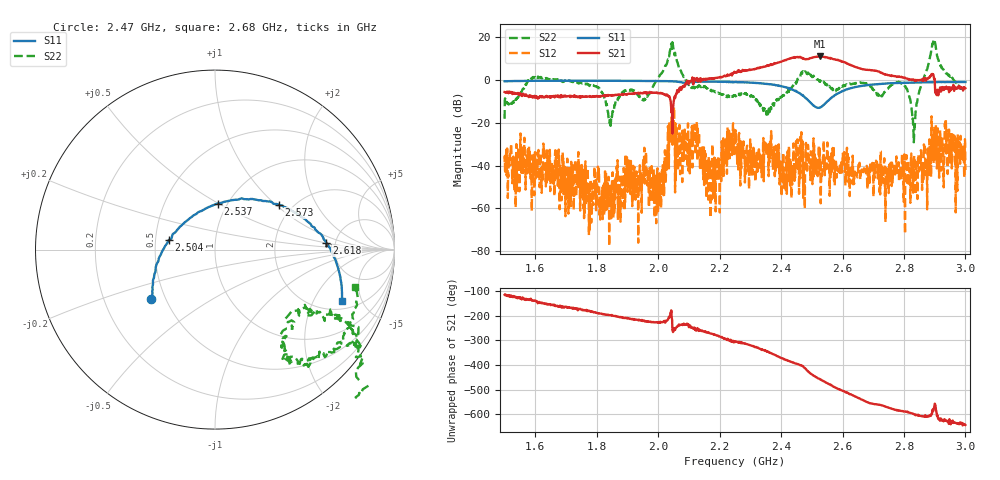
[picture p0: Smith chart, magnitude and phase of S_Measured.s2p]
!  11/13/2024  11:24:38 AM
! Ref Plane: 0.000 mm
# MHZ S MA R  50
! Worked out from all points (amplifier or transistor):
!   2001 points, 1.5 GHz to 3 GHz, reference 50 ohm
!   highest |S21| = 11.1 dB at 2.527 GHz (marker M1)
!   |S21| within 3 dB of that: 2.389 GHz to 2.611 GHz (221.7 MHz wide, 8.87 % of centre)
!   unconditionally stable (mu >= 1): 1.737 GHz to 1.994 GHz; 2.254 GHz to 2.448 GHz; 2.54 GHz to 2.861 GHz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
!   at 1.75 GHz: K = 2.42, MAG = 11.2 dB, |S12| = -43.3 dB
!   at 2.25 GHz: K = 2.72, MAG = 11.7 dB, |S12| = -34.1 dB
!   at 3 GHz: K = 9.05, MAG = 6.6 dB, |S12| = -42.1 dB
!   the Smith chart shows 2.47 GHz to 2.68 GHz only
!   S11 on the Smith chart (normalised r, x): 2.47 GHz: 0.42, -0.29; 2.504 GHz: 0.59, +0.07; 2.537 GHz: 0.90, +0.50; 2.573 GHz: 1.70, +1.05; 2.618 GHz: 4.22, +0.52; 2.68 GHz: 2.50, -3.41
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1500  0.9426 46.9  0.5269 -115.6  0.01212 -81.3  0.1245 -18.7
1750.5  0.9661 16.8  0.411 -175.4  0.01162 109.9  0.8677 -17.6
2000.25  0.9509 -14.7  0.493 133.7  0.001842 179.9  1.163 -151.1
2037  0.9457 -20.2  0.4142 154.9  0.05944 -91.1  4.327 -148.9
2047.5  0.9325 -21.9  0.1371 100.8  0.06397 108.3  6.725 -92.2
2056.5  0.9282 -23.8  0.4243 109.5  0.09296 -161.9  3.305 -56.9
2083.5  0.8717 -26.0  0.7279 127.8  0.02173 -146.3  1.182 -42.2
2250  0.9021 -51.3  1.526 54.3  0.01971 85.7  0.4337 72.2
2470.5  0.4494 -142.4  3.163 -44.5  0.03643 58.1  1.619 -118.3
2500.5  0.2762 174.9  3.343 -78.4  0.01086 -99.2  1.184 -57.4
2504.25  0.2612 167.7  3.405 -82.1  0.009776 -46.1  1.228 -50.7
2527.5  0.2283 108.8  3.589 -98.2  0.01381 95.1  0.9888 -33.6
2537.25  0.2569 86.5  3.509 -105.5  0.01406 -130.9  0.8748 -30.1
2573.25  0.4349 34.9  3.086 -129.2  0.009768 -12.8  0.596 -38.2
2618.25  0.622 3.5  2.405 -154.2  0.01029 -93.5  0.8172 -51.8
2679.75  0.7627 -22.0  1.745 169.2  0.00705 115.4  0.8081 -14.8
2750.25  0.8402 -41.2  1.304 146.4  0.002261 56.5  0.678 -169.5
2859.75  0.8862 -63.0  1.034 112.3  0.007075 80.3  0.9089 132.5
2893.5  0.8981 -68.5  1.359 136.9  0.04563 -2.7  7.128 175.2
2904  0.8944 -70.1  0.5041 139.2  0.08826 50.5  5.687 -117.3
2914.5  0.8984 -72.3  0.5692 101.5  0.005168 134.1  2.503 -93.2
3000  0.905 -85.0  0.6455 76.3  0.007857 102.0  0.6851 -143.5
